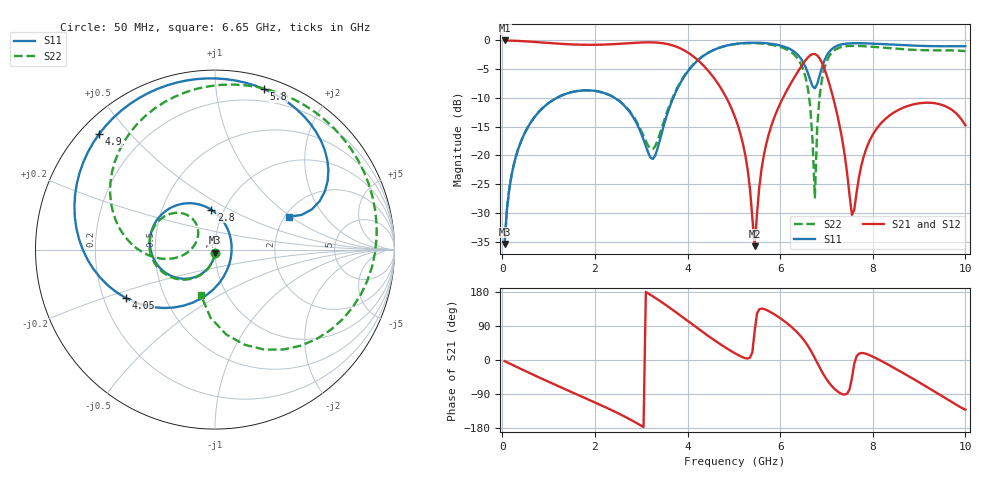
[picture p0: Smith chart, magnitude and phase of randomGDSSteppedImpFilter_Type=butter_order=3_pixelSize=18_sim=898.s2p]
! freq	dB(S11)	phase(S11)	dB(S12)	phase(S12)
!  dB(S21)	phase(S21)	dB(S22)	phase(S22)
!S-par simulation data
#  GHz  S  DB  R 50
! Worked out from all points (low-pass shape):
!   200 points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, 50 MHz to 10 GHz, reference 50 ohm
!   highest |S21| = 0.00 dB at 50 MHz (marker M1); lowest = -35.8 dB at 5.45 GHz (marker M2)
!   |S21| within 3 dB of the highest: start of sweep to 4.161 GHz; 6.595 GHz to 6.841 GHz (245.5 MHz wide, 3.65 % of centre)
!   lowest |S11| = -35.4 dB at 50 MHz (marker M3), VSWR 1.03, Z = 49.9 - j1.69 ohm
!   |S11| at or under -10 dB: start of sweep to 1.175 GHz; 2.426 GHz to 3.691 GHz (1.265 GHz wide, 41.4 % of centre)
!   |S22| runs from -35.4 to -0.5 dB; largest |S21 - S12| = 0
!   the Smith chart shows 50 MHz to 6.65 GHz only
!   S11 on the Smith chart (normalised r, x): 50 MHz: 1.00, -0.03; 2.8 GHz: 0.87, +0.41; 4.05 GHz: 0.29, -0.23; 4.9 GHz: 0.05, +0.41; 5.8 GHz: 0.09, +1.35; 6.65 GHz: 2.10, +0.97
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0.05  -35.42 -92.9  -0.00 -3.0  -0.00 -3.0  -35.41 -92.8
0.2  -23.45 -102.4  -0.04 -11.8  -0.04 -11.8  -23.44 -101.9
0.5  -15.87 -120.3  -0.15 -29.3  -0.15 -29.3  -15.86 -119.3
1.75  -8.69 168.6  -0.75 -98.2  -0.75 -98.2  -8.69 174.1
2.8  -13.01 95.4  -0.45 -159.5  -0.45 -159.5  -12.84 127.1
3.4  -17.40 -60.9  -0.42 156.2  -0.42 156.2  -16.32 -174.3
4.05  -4.94 -151.6  -2.33 98.8  -2.33 98.8  -4.85 164.1
4.9  -0.80 135.0  -10.96 26.7  -10.96 26.7  -0.81 92.2
5.05  -0.59 124.0  -13.89 15.9  -13.89 15.9  -0.62 79.5
5.3  -0.42 106.4  -22.57 4.0  -22.57 4.0  -0.48 58.2
5.45  -0.39 96.3  -35.79 76.4  -35.79 76.4  -0.48 45.2
5.8  -0.58 73.0  -15.10 125.9  -15.10 125.9  -0.74 13.5
6.35  -2.26 35.0  -5.85 75.2  -5.85 75.2  -2.88 -48.2
6.65  -6.89 24.0  -2.59 27.2  -2.59 27.2  -11.53 -107.2
6.7  -7.97 30.7  -2.38 16.4  -2.38 16.4  -17.47 -127.2
6.75  -8.33 41.7  -2.37 4.8  -2.37 4.8  -27.33 120.5
6.85  -6.18 57.8  -3.10 -18.9  -3.10 -18.9  -9.85 36.3
7.1  -1.63 43.0  -8.63 -66.5  -8.63 -66.5  -2.26 -22.8
7.55  -0.49 9.7  -30.36 -47.4  -30.36 -47.4  -0.94 -84.6
8.35  -0.69 -30.3  -13.14 -13.4  -13.14 -13.4  -1.35 -168.1
9.25  -0.99 -66.4  -10.85 -77.1  -10.85 -77.1  -1.72 91.3
10  -1.00 -96.7  -14.77 -131.1  -14.77 -131.1  -1.86 -8.8
